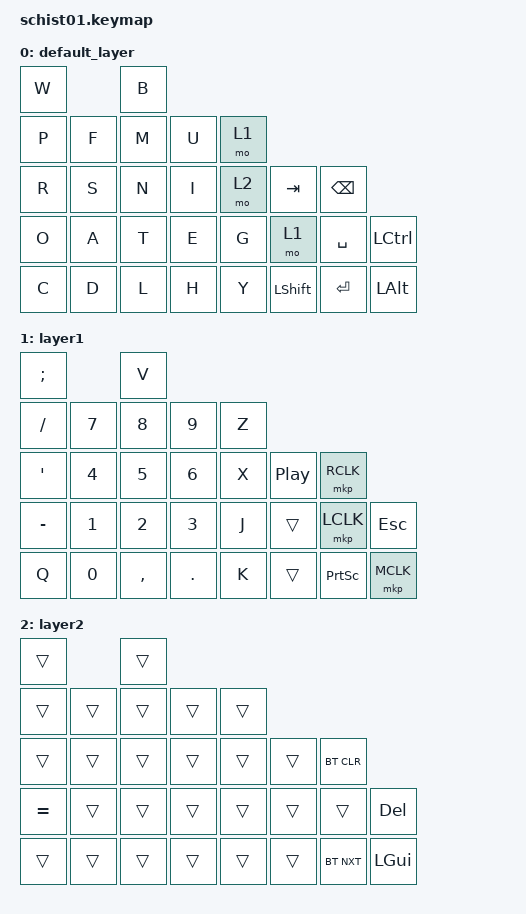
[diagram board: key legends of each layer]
/*
 * Copyright (c) 2020 The ZMK Contributors
 *
 * SPDX-License-Identifier: MIT
 */

#include <zephyr/dt-bindings/input/input-event-codes.h>

#include <behaviors.dtsi>
#include <behaviors/studio_unlock.dtsi>
#include <behaviors/mouse_keys.dtsi>
#include <behaviors/mouse_key_press.dtsi>
#include <behaviors/mouse_key_toggle.dtsi>
#include <dt-bindings/zmk/keys.h>
#include <dt-bindings/zmk/bt.h>
#include <dt-bindings/zmk/rgb.h>
#include <dt-bindings/zmk/ext_power.h>
#include <dt-bindings/zmk/outputs.h>
#include <dt-bindings/zmk/mouse.h>
#include <dt-bindings/zmk/input_transform.h>

#include <behaviors/insomnia.dtsi>
#include <dt-bindings/zmk/insomnia.h>
#include <input/processors.dtsi>

#define default_layer 0
#define layer1 1
#define layer2 2
//#define LHB 3
//#define NUM 4
//#define MSK 5
//#define MSC 6

#ifndef MOVE_Y
#define MOVE_Y(n) (0)
#endif
#ifndef MOVE_X
#define MOVE_X(n) (0)
#endif

#define U_MOUSE_MOVE_MAX 1700
#define MOU_U MOVE_Y(-U_MOUSE_MOVE_MAX)
#define MOU_D MOVE_Y(U_MOUSE_MOVE_MAX)
#define MOU_L MOVE_X(-U_MOUSE_MOVE_MAX)
#define MOU_R MOVE_X(U_MOUSE_MOVE_MAX)

#define U_MOUSE_SCROLL_MAX 10
#define SCL_U MOVE_Y(U_MOUSE_SCROLL_MAX)
#define SCL_D MOVE_Y(-U_MOUSE_SCROLL_MAX)
#define SCL_L MOVE_X(-U_MOUSE_SCROLL_MAX)
#define SCL_R MOVE_X(U_MOUSE_SCROLL_MAX)

/ {
        xy_transf: xy_transf {
                compatible = "zmk,input-processor-transform";
                #input-processor-cells = <1>;
                type = <INPUT_EV_REL>;
                x-codes = <INPUT_REL_X>, <INPUT_REL_WHEEL>;
                y-codes = <INPUT_REL_Y>, <INPUT_REL_HWHEEL>;
        };
        xy_scaler: xy_scaler {
                compatible = "zmk,input-processor-scaler";
                #input-processor-cells = <2>;
                type = <INPUT_EV_REL>;
                codes = <INPUT_REL_X>, <INPUT_REL_Y>;
                track-remainders;
        };
        x_scaler: x_scaler {
                compatible = "zmk,input-processor-scaler";
                #input-processor-cells = <2>;
                type = <INPUT_EV_REL>;
                codes = <INPUT_REL_X>;
        };
        to_wheel: to_wheel {
                compatible = "zmk,input-processor-code-mapper";
                #input-processor-cells = <0>;
                type = <INPUT_EV_REL>;
                map = <INPUT_REL_X INPUT_REL_HWHEEL>
                    , <INPUT_REL_Y INPUT_REL_WHEEL>;
        };

        // tball0_mmv_il {
        //         compatible = "zmk,input-listener";
        //         device = <&tball0>;
        //         precise {
        //                 layers = <NUM>;
        //                 input-processors = <&xy_scaler 2 3>;
        //         };
        //         scroll {
        //                 layers = <MSC>;
        //                 input-processors = <&xy_transf (INPUT_TRANSFORM_Y_INVERT)>
        //                                 , <&xy_scaler 1 25>, <&x_scaler 0 1>
        //                                 , <&to_wheel>;
        //         };
        // };

        // tball1_mmv_il {
        //         compatible = "zmk,input-listener";
        //         device = <&tball1>;
        //         precise {
        //                 layers = <NUM>;
        //                 input-processors = <&xy_scaler 2 3>;
        //         };
        //         scroll {
        //                 layers = <MSC>;
        //                 input-processors = <&xy_transf (INPUT_TRANSFORM_Y_INVERT)>
        //                                 , <&xy_scaler 1 25>, <&x_scaler 0 1>
        //                                 , <&to_wheel>;
        //         };
        // };

        // tpoint0_mmv_il {
        //         compatible = "zmk,input-listener";
        //         device = <&tpoint0>;
        //         input-processors = <&xy_transf (INPUT_TRANSFORM_Y_INVERT)>;
        //         precise {
        //                 layers = <NUM>;
        //                 inherit;
        //                 input-processors = <&xy_scaler 2 3>;
        //         };
        //         scroll {
        //                 layers = <MSC>;
        //                 inherit;
        //                 input-processors = <&xy_scaler 1 22>, <&x_scaler 0 1>
        //                                  , <&to_wheel>;
        //         };
        // };

        tpad0_mmv_il {
                compatible = "zmk,input-listener";
                device = <&tpad0_test>;
                input-processors = <&xy_transf (INPUT_TRANSFORM_Y_INVERT)>;
                precise {
                        layers = <default_layer>;
                        inherit;
                        input-processors = <&xy_scaler 2 3>;
                };
                // scroll {
                //         layers = <MSC>;
                //         inherit;
                //         input-processors = <&xy_scaler 1 22>, <&x_scaler 0 1>
                //                          , <&to_wheel>;
                // };
        };


        behaviors {
                m_v: mouse_move {
                        compatible = "zmk,behavior-input-two-axis";
                        #binding-cells = <1>;
                        trigger-period-ms = <12>; // slow down for OTA, default is 3ms
                        x-input-code = <INPUT_REL_X>;
                        y-input-code = <INPUT_REL_Y>;
                        time-to-max-speed-ms = <300>;
                        acceleration-exponent = <1>;
                };
                m_s: mouse_scroll {
                        compatible = "zmk,behavior-input-two-axis";
                        #binding-cells = <1>;
                        trigger-period-ms = <12>; // slow down for OTA, default is 3ms
                        x-input-code = <INPUT_REL_HWHEEL>;
                        y-input-code = <INPUT_REL_WHEEL>;
                        time-to-max-speed-ms = <50>;
                        acceleration-exponent = <1>;
                };
                ec_s: mouse_scroll {
                        compatible = "zmk,behavior-input-two-axis";
                        #binding-cells = <1>;
                        trigger-period-ms = <12>; // slow down for OTA, default is 3ms
                        x-input-code = <INPUT_REL_HWHEEL>;
                        y-input-code = <INPUT_REL_WHEEL>;
                        time-to-max-speed-ms = <277>;
                        acceleration-exponent = <0>;
                };
                rot_enc: sensor_rotate {
                        compatible = "zmk,behavior-sensor-rotate";
                        #sensor-binding-cells = <0>;
                        bindings = <&ec_s MOVE_Y(-17)>, <&ec_s MOVE_Y(17)>;
                        tap-ms = <65>;
                };
        };

        mmv_input_listener {
                compatible = "zmk,input-listener";
                device = <&m_v>;
        };
        mms_input_listener {
                compatible = "zmk,input-listener";
                device = <&m_s>;
        };

        // ib_tog_layer: ib_tog_layer {
        //         compatible = "zmk,input-behavior-tog-layer";
        //         #binding-cells = <1>;
        //         time-to-live-ms = <1000>;
        // };

        // ib_fwd_to_hid_io: ib_forward_fwd_to_hid_io {
        //         compatible = "zmk,input-behavior-fwd-to-hid-io";
        //         #binding-cells = <0>;
        // };

        //   0   1   2   3   4     5   6   7   8   9
        //  10  11  12  13  14    15  16  17  18  19
        //  20  21  22  23  24    25  26  27  28  29
        //          30  31  32    33  34  35
        //  36 37 38
        // combos {
        //         compatible = "zmk,combos";

        //         q   { timeout-ms = <60>; key-positions = <1 2>; bindings = <&kp Q>; layers = <DEF TSP LHB>; };
        //         t   { timeout-ms = <60>; key-positions = <2 3>; bindings = <&kp T>; layers = <DEF TSP LHB>; };
        //         g   { timeout-ms = <60>; key-positions = <12 13>; bindings = <&kp G>; layers = <DEF TSP LHB>; };
        //         b   { timeout-ms = <60>; key-positions = <22 23>; bindings = <&kp B>; layers = <DEF TSP LHB>; };
        //         b_d { timeout-ms = <70>; key-positions = <2 13>; bindings = <&kp B>; layers = <DEF TSP LHB>; };
        //         b_v { timeout-ms = <60>; key-positions = <23 13>; bindings = <&kp B>; layers = <DEF TSP LHB>; };
        //         t_v { timeout-ms = <60>; key-positions = <3 13>; bindings = <&kp T>; layers = <DEF TSP LHB>; };

        //         z   { timeout-ms = <30>; key-positions = <10 31>; bindings = <&kp Z>; layers = <DEF TSP LHB>; };
        //         x   { timeout-ms = <30>; key-positions = <11 31>; bindings = <&kp X>; layers = <DEF TSP LHB>; };
        //         c   { timeout-ms = <30>; key-positions = <12 31>; bindings = <&kp C>; layers = <DEF TSP LHB>; };
        //         v   { timeout-ms = <30>; key-positions = <13 31>; bindings = <&kp V>; layers = <DEF TSP LHB>; };
        //         b_t { timeout-ms = <30>; key-positions = <13 32>; bindings = <&kp B>; layers = <DEF TSP LHB>; };

        //         p   { timeout-ms = <60>; key-positions = <7 8>; bindings = <&kp P>; layers = <DEF TSP LHB>; };
        //         y   { timeout-ms = <60>; key-positions = <6 7>; bindings = <&kp Y>; layers = <DEF TSP LHB>; };
        //         h   { timeout-ms = <60>; key-positions = <16 17>; bindings = <&kp H>; layers = <DEF TSP LHB>; };
        //         n   { timeout-ms = <60>; key-positions = <26 27>; bindings = <&kp N>; layers = <DEF TSP LHB>; };
        //         n_d { timeout-ms = <70>; key-positions = <7 16>; bindings = <&kp N>; layers = <DEF TSP LHB>; };
        //         n_v { timeout-ms = <60>; key-positions = <26 16>; bindings = <&kp N>; layers = <DEF TSP LHB>; };
        //         y_v { timeout-ms = <60>; key-positions = <6 16>; bindings = <&kp Y>; layers = <DEF TSP LHB>; };

        //         n_t   { timeout-ms = <30>; key-positions = <16 33>; bindings = <&kp N>; layers = <DEF TSP LHB>; };
        //         m     { timeout-ms = <30>; key-positions = <16 34>; bindings = <&kp M>; layers = <DEF TSP LHB>; };
        //         comma { timeout-ms = <30>; key-positions = <17 34>; bindings = <&kp COMMA>; layers = <DEF TSP LHB>; };
        //         dot   { timeout-ms = <30>; key-positions = <18 34>; bindings = <&kp DOT>; layers = <DEF TSP LHB>; };
        //         flash { timeout-ms = <30>; key-positions = <19 34>; bindings = <&kp FSLH>; layers = <DEF TSP LHB>; };

        //         bksp { timeout-ms = <70>; key-positions = <17 18>; bindings = <&kp BKSP>; layers = <DEF TSP LHB>; };
        //         del  { timeout-ms = <70>; key-positions = <17 18>; bindings = <&kp DEL>; layers = <NUM TSP>; };
        //         esc  { timeout-ms = <70>; key-positions = <11 12>; bindings = <&kp ESC>; layers = <DEF TSP LHB NUM>; };

        //         spcr { timeout-ms = <70>; key-positions = <27 28>; bindings = <&kp SPC>; layers = <DEF TSP LHB NUM>; };
        //         tab  { timeout-ms = <70>; key-positions = <21 22>; bindings = <&kp TAB>; layers = <DEF TSP LHB NUM>; };

        //         ret1  { timeout-ms = <30>; key-positions = <17 26>; bindings = <&kp RET>; layers = <DEF TSP LHB NUM>; };
        //         ret2  { timeout-ms = <30>; key-positions = <12 23>; bindings = <&kp RET>; layers = <DEF TSP LHB NUM>; };

        //         n1   { timeout-ms = <60>; key-positions = <1 2>; bindings = <&kp N1>; layers = <NUM TSP>; };
        //         n5   { timeout-ms = <60>; key-positions = <2 3>; bindings = <&kp N5>; layers = <NUM TSP>; };
        //         n5_v { timeout-ms = <60>; key-positions = <3 13>; bindings = <&kp N5>; layers = <NUM TSP>; };
                
        //         n0   { timeout-ms = <60>; key-positions = <7 8>; bindings = <&kp N0>; layers = <NUM TSP>; };
        //         n6   { timeout-ms = <60>; key-positions = <6 7>; bindings = <&kp N6>; layers = <NUM TSP>; };
        //         n6_v { timeout-ms = <60>; key-positions = <6 16>; bindings = <&kp N6>; layers = <NUM TSP>; };

        //         f1   { timeout-ms = <60>; key-positions = <1 2>; bindings = <&kp F1>; layers = <MSK>; };
        //         f5   { timeout-ms = <60>; key-positions = <2 3>; bindings = <&kp F5>; layers = <MSK>; };
        //         f5_v { timeout-ms = <60>; key-positions = <3 13>; bindings = <&kp F5>; layers = <MSK>; };

        //         f10  { timeout-ms = <60>; key-positions = <7 8>; bindings = <&kp F10>; layers = <MSK>; };
        //         f6   { timeout-ms = <60>; key-positions = <6 7>; bindings = <&kp F6>; layers = <MSK>; };
        //         f6_v { timeout-ms = <60>; key-positions = <6 16>; bindings = <&kp F6>; layers = <MSK>; };

        //         f11  { timeout-ms = <70>; key-positions = <6 7 8>; bindings = <&kp F11>; layers = <MSK>; };
        //         f12  { timeout-ms = <70>; key-positions = <1 2 3>; bindings = <&kp F12>; layers = <MSK>; };

        //         mkp_swap { timeout-ms = <60>; key-positions = <36 38>; bindings = <&tog LHB>; layers = <DEF TSP LHB NUM MSK MSC>; };

        //         nav_left { timeout-ms = <60>; key-positions = <16 17>; bindings = <&kp LEFT>; layers = <NUM TSP>; };
        //         mmv_left { timeout-ms = <60>; key-positions = <16 17>; bindings = <&mmv MOU_L>; layers = <MSK>; };
        //         msc_left { timeout-ms = <60>; key-positions = <16 17>; bindings = <&msc SCL_L>; layers = <MSC>; };

        //         dfu_l { timeout-ms = <60>; key-positions = <0 1>; bindings = <&bootloader>; layers = <MSC>; };
        // };

        // behaviors {
        //         hm_l: homerow_mods_left {
        //                 compatible = "zmk,behavior-hold-tap"; #binding-cells = <2>;
        //                 tapping-term-ms = <200>; quick-tap-ms = <200>;
        //                 flavor = "tap-preferred"; bindings = <&kp>, <&kp>;
        //         };
        //         hm_r: homerow_mods_right {
        //                 compatible = "zmk,behavior-hold-tap"; #binding-cells = <2>;
        //                 tapping-term-ms = <200>; quick-tap-ms = <200>;
        //                 flavor = "tap-preferred"; bindings = <&kp>, <&kp>;
        //         };
        //         hl_l: homerow_layers_left {
        //                 compatible = "zmk,behavior-hold-tap"; #binding-cells = <2>;
        //                 tapping-term-ms = <200>; quick-tap-ms = <200>;
        //                 flavor = "tap-preferred"; bindings = <&mo>, <&kp>;
        //         };
        //         hl_r: homerow_layers_right {
        //                 compatible = "zmk,behavior-hold-tap"; #binding-cells = <2>;
        //                 tapping-term-ms = <200>; quick-tap-ms = <200>;
        //                 flavor = "tap-preferred"; bindings = <&mo>, <&kp>;
        //         };
        //         hmkp_tg: hold_mouse_key_press_tap_toggle {
        //                 compatible = "zmk,behavior-hold-tap"; #binding-cells = <2>;
        //                 tapping-term-ms = <200>; quick-tap-ms = <200>;
        //                 flavor = "tap-preferred"; bindings = <&mkp>, <&tog>;
        //         };
        //         // rot_enc: sensor_rotate {
        //         //         compatible = "zmk,behavior-sensor-rotate";
        //         //         #sensor-binding-cells = <0>;
        //         //         bindings = <&msc SCL_D>, <&msc SCL_U>;
        //         //         tap-ms = <120>;
        //         // };
        // };

        // kpad: key_kip_a_d {
        //         compatible = "zmk,behavior-key-press-lip";
        //         #binding-cells = <1>;
        //         keycodes = <A D>;
        // };
        // kpws: key_kip_w_s {
        //         compatible = "zmk,behavior-key-press-lip";
        //         #binding-cells = <1>;
        //         keycodes = <W S>;
        // };

        // tempo: key_tempo {
        //         compatible = "zmk,behavior-key-tempo";
        //         #binding-cells = <0>;
        //         usage-pages = <HID_USAGE_KEY HID_USAGE_CONSUMER>;
        // };

//         keymap {
//                 compatible = "zmk,keymap";
//                 DEF_layer {
// // +------------------------------------------------------+     +--------------------------------------------------------+
// // |     Q    |  LCTRL:W |  _MSK:E  |  LALT:R  |     T    |     |     Y     |  RALT:U  |  _MSK:I   |  RCTRL:O |     P    |
// // |     A    |  _NUM:S  |  _NUM:D  |  LGUI:F  |     G    |     |     H     |  RGUI:J  |  _NUM:K   |  _NUM:L  |     ;:   |
// // |  SHFT Z  |  LGUI:X  |     C    |     V    |     B    |     |     N     |     M    |    ,<     |  LGUI:.> |  SHFT /? |
// //                       | ^MSK:ESC |  GUI:ESC | CTRL:TAB |     |  ALT:ENT  | _NUM:SPC | ^MSK:BKSP |
//                         display-name = "Default";
//                         bindings = <
//    &kp Q          &hm_l LCTRL W   &hl_l MSK E    &hm_l LALT R    &kp T               &kp Y           &hm_r RALT U     &hl_r MSK I     &hm_r RCTRL O   &kp P
//    &kp A          &hl_l NUM S     &hl_l NUM D    &hl_l TSP F     &kp G               &kp H           &hl_r TSP J      &hl_r NUM K     &hl_r NUM L     &kp SEMI
//    &mt LSHFT Z    &hm_l LGUI X    &kp C          &kp V           &kp B               &kp N           &kp M            &kp COMMA       &hm_r LGUI DOT  &mt RSHFT FSLH
//                                   &lt MSK ESC    &mt LGUI ESC    &mt LCTRL TAB       &mt LALT RET    &lt NUM SPACE    &lt MSK BKSP
//    &mkp RCLK   &hmkp_tg MCLK MSC   &mkp LCLK
//                         >;
//                         // sensor-bindings = <&rot_enc>;
//                 };
//                 TSP_layer {
//                         display-name = "Thumb Swap";
//                         bindings = <
//    &kp N0  &kp N9  &kp N8         &trans          &trans          &trans          &trans         &kp N3  &kp N2  &kp N1
//    &trans  &kp N7  &kp N6         &trans          &trans          &trans          &trans         &kp N4  &kp N5  &trans
//    &trans  &trans  &trans         &trans          &trans          &trans          &trans         &trans  &trans  &trans
//                    &lt MSK BKSP   &lt NUM SPACE   &mt LALT RET    &mt LCTRL TAB   &mt LGUI ESC   &lt MSK ESC
//    &trans   &trans   &trans
//                         >;
//                         // sensor-bindings = <&rot_enc>;
//                 };
//                 GME_layer {
// // +------------------------------------------------------+     +--------------------------------------------------------+
// // |     Q    |     W    |     E    |     R    |     T    |     |     Y     |     U    |     I     |     O    |     P    |
// // |     A    |     S    |     D    |     F    |     G    |     |     H     |     J    |     K     |     L    |     ;:   |
// // |  SHFT Z  |     X    |     C    |     V    |     B    |     |     N     |     M    |    ,<     |    .>    |  SHFT /? |
// //                       | ^MSK:ESC |  GUI:ESC | CTRL:TAB |     |  ALT:ENT  | _NUM:SPC | ^MSK:BKSP |
//                         display-name = "Gaming";
//                         bindings = <
//    &kp Q          &kpws W         &kp E          &kp R           &kp T               &kp Y           &kp U            &kp I           &kp O           &kp P
//    &kpad A        &kpws S         &kpad D        &kp F           &kp G               &kp H           &kp J            &kp K           &kp L           &kp SEMI
//    &mt LSHFT Z    &kp X           &kp C          &kp V           &kp B               &kp N           &kp M            &kp COMMA       &kp DOT         &mt RSHFT FSLH
//                                   &lt MSK ESC    &mt LGUI ESC    &mt LCTRL TAB       &mt LALT RET    &lt NUM SPACE    &lt MSK BKSP
//    &mkp RCLK   &hmkp_tg MCLK MSC   &mkp LCLK
//                         >;
//                         // sensor-bindings = <&rot_enc>;
//                 };
//                 LHB_layer {
//                         display-name = "MKP Swap";
//                         bindings = <
//    &trans  &trans  &trans  &trans  &trans    &trans  &trans  &trans  &trans  &trans
//    &trans  &trans  &trans  &trans  &trans    &trans  &trans  &trans  &trans  &trans
//    &trans  &trans  &trans  &trans  &trans    &trans  &trans  &trans  &trans  &trans
//                    &trans  &trans  &trans    &trans  &trans  &trans
//    &mkp LCLK   &hmkp_tg MCLK MSC   &mkp RCLK
//                         >;
//                         // sensor-bindings = <&rot_enc>;
//                 };
//                 NUM_layer {
// // +------------------------------------------------------+     +-------------------------------------------------------+
// // |    1!    | LCTRL:2@  |    3#    | LALT:4$  |    5%   |     |    6^    |  RALT:7& |    8&    |  RCTRL 9( |    0)    |
// // |    `~    |           |    {[    |    ]}    |   TAB   |     |    LFT   |   DWN    |    UP    |    RGT    |    '"    |
// // | SHFT TAB |           |          |          |   RET   |     |   BKSP   |    -_    |    =+    |    SPC    |  SHFT \| |
// //                        |          |          |         |     |          |    (H)   |          |
//                         display-name = "Num";
//                         bindings = <
//    &kp N1             &hm_l LCTRL N2   &kp N3     &hm_l LALT N4   &kp N5              &kp N6      &hm_r RALT N7   &kp N8      &hm_r RCTRL N9   &kp N0
//    &kp GRAVE          &trans           &kp LBKT   &kp RBKT        &kp TAB             &kp LEFT    &kp DOWN        &kp UP      &kp RIGHT        &kp SQT
//    &mt LSHFT TAB      &trans           &trans     &trans          &kp RET             &kp BKSP    &kp MINUS       &kp EQUAL   &kp SPACE        &mt RSHFT BSLH
//                                        &trans     &trans          &trans              &trans      &trans          &trans
//    &trans   &trans   &trans
//                         >;
//                 };
//                 MSK_layer {
// // +------------------------------------------------------+     +------------------------------------------------------+
// // |    F1    |    F2    |  (H) F3  |  _MSC:F4 |    F5    |     |    F6    |  _MSC:F7 |  (H) F8  |    F9    |   F10    |
// // |   VOLD   |   VOLU   |   BRID   |   BRIU   |   F12    |     |   MLFT   |   MDWN   |    MUP   |   MRGT   |   F11    |
// // |   _MSC   |   RCLK   |   MCLK   |   LCLK   |          |     |          |   LCLK   |   MCLK   |   RCLK   |  _MSC    |
// //                       |   (H)    |          |          |     |          |          |    (H)   |
//                         display-name = "Mou Key";
//                         bindings = <
//    &kp F1        &kp F2        &kp F3        &lt MSC F4    &kp F5            &kp F6      &lt MSC F7  &kp F8      &kp F9      &kp F1
//    &kp C_VOL_DN  &kp C_VOL_UP  &kp C_BRI_DN  &kp C_BRI_UP  &kp F12           &mmv MOU_L  &mmv MOU_D  &mmv MOU_U  &mmv MOU_R  &kp F11
//    &mo MSC       &mkp RCLK     &mkp MCLK     &mkp LCLK     &trans            &trans      &mkp LCLK   &mkp MCLK   &mkp RCLK   &mo MSC
//                                &trans        &trans        &trans            &trans      &trans      &trans
//    &trans   &trans   &trans
//                         >;
//                 };
//                 MSC_layer {
// // +------------------------------------------------------+     +------------------------------------------------------+
// // |   TEMPO  |   BT_0   | (H) BT_1 | (H) BT_C |          |     |          |    (H)   |    (H)   |          |    DFU   |
// // |   RESET  |  ISA_ON  |  ISA_OFF |  ISA_SLP |          |     |   SLFT   |   SDWN   |    SUP   |   SRGT   |   RESET  |
// // |    (H)   |   RCLK   |   MCLK   |   LCLK   |          |     |          |   LCLK   |   MCLK   |   RCLK   |    (H)   |
// //                       |   (H)    |          |          |     |          |          |    (H)   |
//                         display-name = "Mou Scroll";
//                         bindings = <
//    &tempo      &bt BT_SEL 0  &bt BT_SEL 1  &bt BT_CLR    &trans            &trans       &trans        &trans      &tog GME      &bootloader
//    &sys_reset  &isa ISA_ON   &isa ISA_OFF  &isa ISA_SLP  &studio_unlock    &msc SCL_L   &msc SCL_D    &msc SCL_U  &msc SCL_R    &sys_reset
//    &trans      &mkp RCLK     &mkp MCLK     &mkp LCLK     &trans            &trans       &mkp LCLK     &mkp MCLK   &mkp RCLK     &trans
//                              &trans        &trans        &trans            &trans       &trans        &trans
//    &trans   &trans   &trans
//                         >;
//                 };
//        };
keymap {
        compatible = "zmk,keymap";

        default_layer {
            bindings = <
                &kp W              &kp B 
                &kp P     &kp F    &kp M      &kp U     &mo 1
                &kp R     &kp S    &kp N      &kp I     &mo 2    &kp TAB     &kp BACKSPACE
                &kp O     &kp A    &kp T      &kp E     &kp G    &mo 1       &kp SPACE    &kp LCTRL
                &kp C     &kp D    &kp L      &kp H     &kp Y    &kp LSHIFT  &kp RET      &kp LALT
            >;
        };
        layer1 {
            bindings = <
                &kp SEMI           &kp V 
                &kp SLASH &kp N7   &kp N8     &kp N9    &kp Z
                &kp SQT   &kp N4   &kp N5     &kp N6    &kp X    &kp C_PLAY_PAUSE    &mkp RCLK
                &kp MINUS &kp N1   &kp N2     &kp N3    &kp J    &trans      &mkp LCLK    &kp ESC
                &kp Q     &kp N0   &kp COMMA  &kp DOT   &kp K    &trans      &kp PSCRN    &mkp MCLK
            >;
        };
        layer2 {
            bindings = <
                &trans             &trans  
                &trans    &trans   &trans     &trans    &trans
                &trans    &trans   &trans     &trans    &trans   &trans     &bt BT_CLR
                &kp EQUAL &trans   &trans     &trans    &trans   &trans     &trans        &kp DEL
                &trans    &trans   &trans     &trans    &trans   &trans     &bt BT_NXT    &kp LGUI
            >;
        };
    };
};

// #define OUTPUT_SOURCE_LAYER_STATE_CHANGE        1
// #define OUTPUT_SOURCE_POSITION_STATE_CHANGE     2
// #define OUTPUT_SOURCE_KEYCODE_STATE_CHANGE      3
// #define OUTPUT_SOURCE_MOUSE_BUTTON_STATE_CHANGE 4
// #define OUTPUT_SOURCE_MOUSE_WHEEL_STATE_CHANGE  5
// #define OUTPUT_SOURCE_TRANSPORT                 6
// /{
//         // lra0_obl__press_key_code_q {
//         //         compatible = "zmk,output-behavior-listener";
//         //         layers = < DEF TSP LHB MSC >;
//         //         sources = < OUTPUT_SOURCE_KEYCODE_STATE_CHANGE >;
//         //         position = < 0x14 >;
//         //         bindings = < &ob_lra0 >;
//         // };
//         // ob_lra0: ob_lra0 {
//         //         compatible = "zmk,output-behavior-generic";
//         //         #binding-cells = <0>;
//         //         device = <&fb_lra0>;
//         //         // delay = <0>;
//         //         /* DON'T need time-to-live-ms for DRV2605 driver */
//         //         // time-to-live-ms = <130>;
//         //         /* force will be convrt to waveformm effect from DRV2605 library */
//         //         force = <7>;
//         // };
//         // led1_obl__press_mouse_btn_1 {
//         //         compatible = "zmk,output-behavior-listener";
//         //         layers = < DEF TSP LHB MSC >;
//         //         /* trigger on mouse button 1 status change */
//         //         sources = < OUTPUT_SOURCE_MOUSE_BUTTON_STATE_CHANGE >;
//         //         position = < 1 >;
//         //         bindings = < &ob_mbtn_led1 >;
//         //         /* caught all state change that include key press and release */
//         //         all-state;
//         // };
//         // ob_mbtn_led1: ob_mbtn_led1 {
//         //         compatible = "zmk,output-behavior-generic";
//         //         #binding-cells = <0>;
//         //         device = <&fb_led0>;
//         //         delay = <0>;
//         //         /* set duty cycle of pwm, max 256 */
//         //         force = <120>;
//         //         /* enable momentum to trigger on both on all state change */
//         //         momentum;
//         //         momentum-force = <0>;
//         // };
//         // led1_obl__press_mouse_whl_1 {
//         //         compatible = "zmk,output-behavior-listener";
//         //         layers = < DEF TSP LHB MSC >;
//         //         /* trigger on mouse wheel status change */
//         //         sources = < OUTPUT_SOURCE_MOUSE_WHEEL_STATE_CHANGE >;
//         //         bindings = < &ob_mwhl1_led1 >;
//         // };
//         // ob_mwhl1_led1: ob_mwhl1_led1 {
//         //         compatible = "zmk,output-behavior-generic";
//         //         #binding-cells = <0>;
//         //         device = <&fb_led0>;
//         //         delay = <0>;
//         //         time-to-live-ms = <25>;
//         //         /* set duty cycle of pwm, max 256 */
//         //         force = <80>;
//         // };
//         // pwm0_obl__press_key_code_p {
//         //         compatible = "zmk,output-behavior-listener";
//         //         layers = < DEF TSP LHB MSC >;
//         //         sources = < OUTPUT_SOURCE_KEYCODE_STATE_CHANGE >;
//         //         position = < 0x13>;
//         //         bindings = < &ob_led0 >;
//         //         /* caught all state change that include key press and release */
//         //         all-state;
//         // };
//         // ob_led0: ob_led0 {
//         //         compatible = "zmk,output-behavior-generic";
//         //         #binding-cells = <0>;
//         //         device = <&fb_led0>;
//         //         delay = <0>;
//         //         /* set duty cycle of pwm, max 256 */
//         //         force = <180>;
//         //         /* enable momentum to trigger on both on all state change */
//         //         momentum;
//         //         momentum-force = <12>;
//         // };
// };
